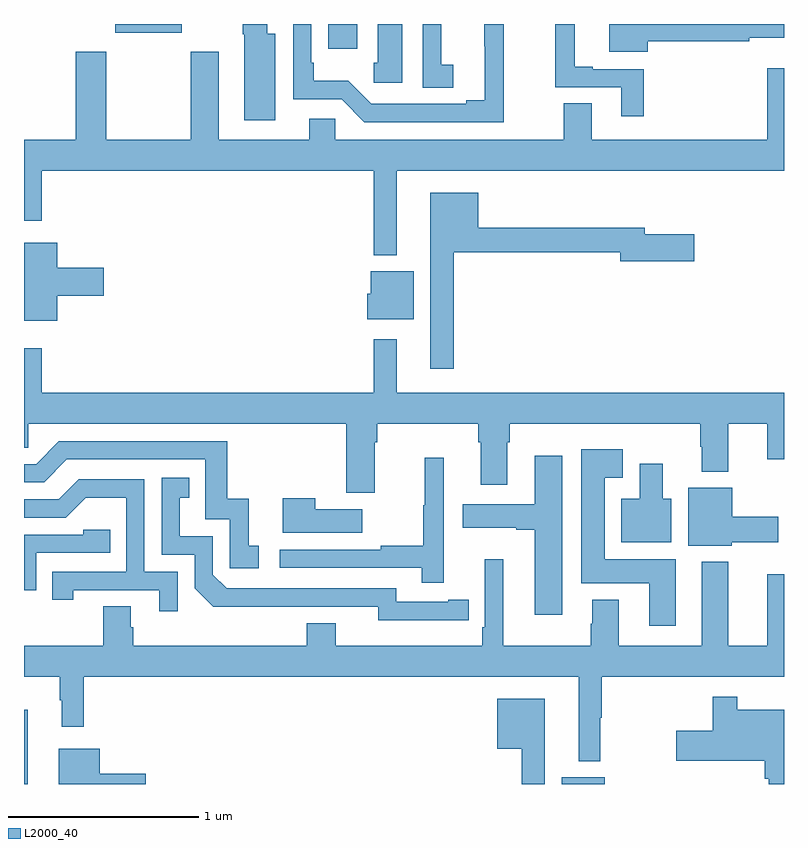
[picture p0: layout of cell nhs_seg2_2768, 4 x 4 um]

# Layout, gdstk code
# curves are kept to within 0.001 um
import gdstk
lib = gdstk.Library(unit=1e-6, precision=1e-09)
def R(c, l, rs):  # rectangles x0, y0, x1, y1
    for r in rs: c.add(gdstk.rectangle(r[:2], r[2:], *l))
def P(c, l, *ps):  # polygons
    for p in ps: c.add(gdstk.Polygon(p, *l))
L2000_40 = (2000, 40)

nhs_seg2_2768 = lib.new_cell('nhs_seg2_2768')
R(nhs_seg2_2768, L2000_40, [(257,585.8,257.02,586.192), (259.829,585.8,260.056,585.835), (258.602,589.671,258.754,589.8), (257.48,589.754,257.83,589.8)])
P(nhs_seg2_2768, L2000_40, [(260.284,589.708),(260.816,589.708),(260.816,589.727),(261,589.727),(261,589.8),(260.081,589.8),(260.081,589.655),(260.284,589.655)],
  [(258.322,589.75),(258.28,589.75),(258.28,589.8),(258.151,589.8),(258.151,589.746),(258.158,589.746),(258.158,589.293),(258.322,589.293)],
  [(258.991,589.8),(258.863,589.8),(258.863,589.596),(258.841,589.596),(258.841,589.491),(258.991,589.491)],
  [(259.258,589.585),(259.197,589.585),(259.197,589.8),(259.098,589.8),(259.098,589.465),(259.258,589.465)],
  [(260.261,589.563),(259.993,589.563),(259.993,589.576),(259.898,589.576),(259.898,589.8),(259.795,589.8),(259.795,589.467),(260.144,589.467),(260.144,589.314),(260.261,589.314)],
  [(259.526,589.8),(259.423,589.8),(259.424,589.4),(259.328,589.4),(259.328,589.38),(258.828,589.38),(258.707,589.501),(258.526,589.501),(258.526,589.597),(258.513,589.597),(258.513,589.8),(258.417,589.8),(258.417,589.404),(258.672,589.404),(258.792,589.284),(259.526,589.284)],
  [(258.961,589.028),(261,589.028),(261,589.567),(260.912,589.567),(260.912,589.192),(259.987,589.192),(259.987,589.382),(259.84,589.382),(259.84,589.192),(258.639,589.192),(258.639,589.302),(258.5,589.302),(258.5,589.192),(258.025,589.192),(258.025,589.654),(257.878,589.654),(257.878,589.192),(257.433,589.192),(257.433,589.654),(257.273,589.654),(257.273,589.192),(257,589.192),(257,588.765),(257.093,588.765),(257.093,589.028),(258.84,589.028),(258.84,588.584),(258.961,588.584)],
  [(259.261,588.598),(260.138,588.598),(260.138,588.551),(260.527,588.551),(260.527,588.693),(260.266,588.693),(260.266,588.727),(259.39,588.727),(259.39,588.913),(259.139,588.913),(259.139,587.985),(259.261,587.985)],
  [(257.176,588.371),(257.419,588.371),(257.419,588.518),(257.176,588.518),(257.176,588.649),(257,588.649),(257,588.239),(257.176,588.239)],
  [(259.051,588.499),(258.824,588.499),(258.824,588.381),(258.806,588.381),(258.806,588.245),(259.051,588.245)],
  [(258.847,587.6),(258.86,587.6),(258.86,587.696),(259.391,587.696),(259.391,587.6),(259.403,587.6),(259.403,587.376),(259.543,587.376),(259.543,587.6),(259.556,587.6),(259.556,587.696),(260.56,587.696),(260.56,587.576),(260.567,587.576),(260.567,587.444),(260.707,587.444),(260.707,587.696),(260.912,587.696),(260.912,587.508),(261,587.508),(261,587.86),(258.961,587.86),(258.961,588.142),(258.84,588.142),(258.84,587.86),(257.093,587.86),(257.093,588.094),(257,588.094),(257,587.569),(257.022,587.569),(257.022,587.696),(258.695,587.696),(258.695,587.334),(258.847,587.334)],
  [(258.235,587.055),(258.182,587.055),(258.182,587.302),(258.071,587.302),(258.071,587.604),(257.184,587.604),(257.064,587.484),(257,587.484),(257,587.388),(257.106,587.388),(257.226,587.508),(257.955,587.508),(257.955,587.193),(258.084,587.193),(258.084,586.935),(258.235,586.935)],
  [(260.431,586.984),(260.056,586.984),(260.056,587.411),(260.152,587.411),(260.152,587.563),(259.934,587.563),(259.934,586.856),(260.291,586.856),(260.291,586.632),(260.431,586.632)],
  [(259.834,587.527),(259.688,587.527),(259.688,587.272),(259.308,587.272),(259.308,587.15),(259.592,587.15),(259.592,587.138),(259.688,587.138),(259.688,586.692),(259.834,586.692)],
  [(259.209,587.518),(259.108,587.518),(259.108,587.268),(259.101,587.268),(259.101,587.054),(258.877,587.054),(258.877,587.034),(258.345,587.034),(258.345,586.938),(259.093,586.938),(259.093,586.86),(259.209,586.86)],
  [(260.407,587.302),(260.362,587.302),(260.362,587.485),(260.24,587.485),(260.24,587.302),(260.144,587.302),(260.144,587.072),(260.407,587.072)],
  [(259.232,586.662),(259.34,586.662),(259.34,586.771),(259.232,586.771),(259.232,586.758),(258.96,586.758),(258.96,586.83),(258.066,586.83),(257.994,586.902),(257.994,587.103),(257.821,587.103),(257.821,587.307),(257.87,587.307),(257.87,587.413),(257.724,587.413),(257.724,587.007),(257.898,587.007),(257.898,586.83),(257.996,586.733),(258.864,586.734),(258.864,586.661)],
  [(257.808,586.917),(257.634,586.917),(257.634,587.403),(257.288,587.403),(257.183,587.298),(257,587.298),(257,587.202),(257.22,587.202),(257.324,587.306),(257.538,587.306),(257.538,586.917),(257.149,586.917),(257.149,586.77),(257.26,586.77),(257.26,586.821),(257.711,586.821),(257.711,586.71),(257.808,586.71)],
  [(260.724,587.072),(260.971,587.072),(260.971,587.207),(260.728,587.207),(260.728,587.359),(260.495,587.359),(260.495,587.054),(260.724,587.054)],
  [(258.781,587.245),(258.533,587.245),(258.533,587.305),(258.362,587.305),(258.362,587.123),(258.781,587.123)],
  [(257.064,587.016),(257.453,587.016),(257.453,587.139),(257.313,587.139),(257.313,587.112),(257,587.112),(257,586.821),(257.064,586.821)],
  [(260.033,586.148),(260.041,586.148),(260.041,586.364),(261,586.364),(261,586.903),(260.912,586.903),(260.912,586.528),(260.707,586.528),(260.707,586.969),(260.567,586.969),(260.567,586.528),(260.131,586.528),(260.131,586.771),(259.991,586.771),(259.991,586.644),(259.984,586.644),(259.984,586.528),(259.522,586.528),(259.522,586.984),(259.425,586.984),(259.425,586.624),(259.412,586.624),(259.412,586.528),(258.64,586.528),(258.64,586.645),(258.488,586.645),(258.488,586.528),(257.576,586.528),(257.576,586.626),(257.563,586.626),(257.563,586.736),(257.416,586.736),(257.416,586.528),(257,586.528),(257,586.364),(257.187,586.364),(257.187,586.241),(257.198,586.241),(257.198,586.101),(257.315,586.101),(257.315,586.364),(259.919,586.364),(259.919,585.92),(260.033,585.92)],
  [(261,586.192),(260.755,586.192),(260.755,586.258),(260.626,586.258),(260.626,586.081),(260.433,586.081),(260.433,585.923),(260.899,585.923),(260.899,585.827),(260.919,585.827),(260.919,585.8),(261,585.8)],
  [(259.741,586.249),(259.49,586.249),(259.49,585.986),(259.62,585.986),(259.62,585.8),(259.741,585.8)],
  [(257.641,585.854),(257.398,585.854),(257.398,585.985),(257.183,585.985),(257.183,585.8),(257.641,585.8)])

lib.write_gds('nhs_seg2_2768.gds')
